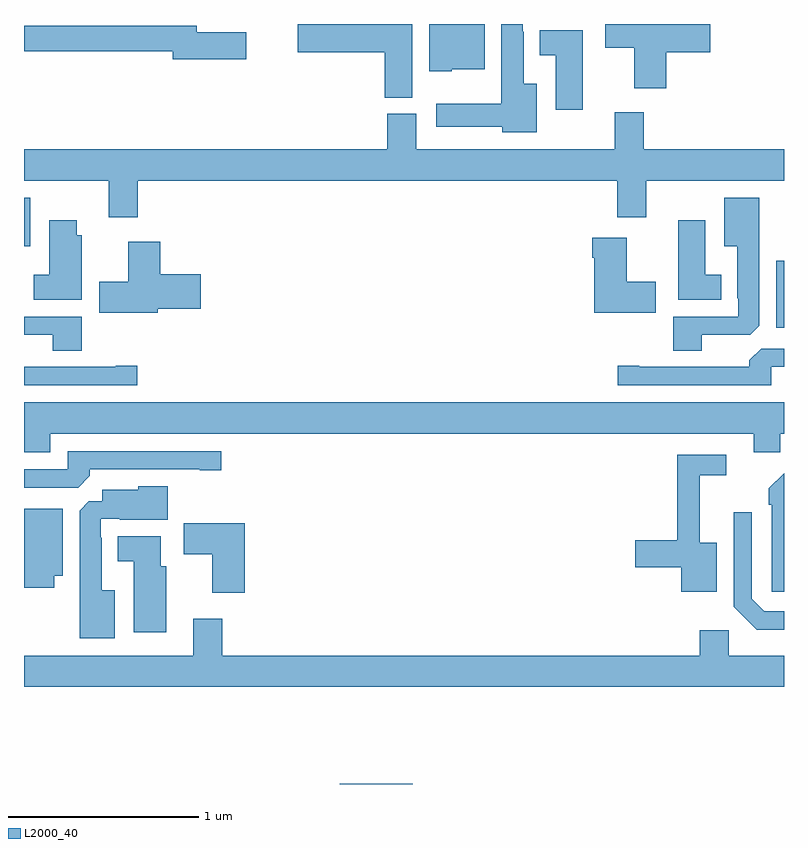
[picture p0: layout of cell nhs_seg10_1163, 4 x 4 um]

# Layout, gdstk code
import gdstk
lib = gdstk.Library(unit=1e-6, precision=1e-09)
def R(c, l, rs):  # rectangles x0, y0, x1, y1
    for r in rs: c.add(gdstk.rectangle(r[:2], r[2:], *l))
def P(c, l, *ps):  # polygons
    for p in ps: c.add(gdstk.Polygon(p, *l))
L2000_40 = (2000, 40)

nhs_seg10_1163 = lib.new_cell('nhs_seg10_1163')
R(nhs_seg10_1163, L2000_40, [(172.662,1270.5,173.046,1270.502), (174.959,1272.902,175,1273.255), (171,1273.331,171.034,1273.585)])
P(nhs_seg10_1163, L2000_40, [(173.698,1274.185),(173.629,1274.185),(173.629,1274.459),(173.625,1274.459),(173.625,1274.5),(173.513,1274.5),(173.513,1274.08),(173.169,1274.08),(173.169,1273.958),(173.517,1273.958),(173.517,1273.931),(173.698,1273.931)],
  [(173.25,1274.261),(173.425,1274.261),(173.425,1274.5),(173.132,1274.5),(173.132,1274.252),(173.25,1274.252)],
  [(174.38,1274.351),(174.613,1274.351),(174.613,1274.498),(174.367,1274.498),(174.367,1274.5),(174.06,1274.5),(174.06,1274.374),(174.212,1274.374),(174.212,1274.163),(174.38,1274.163)],
  [(173.044,1274.5),(172.898,1274.5),(172.898,1274.498),(172.44,1274.498),(172.44,1274.351),(172.898,1274.351),(172.898,1274.113),(173.044,1274.113)],
  [(172.171,1274.456),(171.91,1274.456),(171.91,1274.492),(171,1274.492),(171,1274.356),(171.782,1274.356),(171.782,1274.314),(172.171,1274.314)],
  [(173.941,1274.467),(173.714,1274.467),(173.714,1274.336),(173.798,1274.336),(173.798,1274.049),(173.941,1274.049)],
  [(171.599,1273.676),(174.122,1273.676),(174.122,1273.482),(174.274,1273.482),(174.274,1273.676),(175,1273.676),(175,1273.84),(174.263,1273.84),(174.263,1274.035),(174.11,1274.035),(174.11,1273.84),(173.065,1273.84),(173.065,1274.028),(172.913,1274.028),(172.913,1273.84),(171,1273.84),(171,1273.676),(171.446,1273.676),(171.446,1273.482),(171.599,1273.482)],
  [(174.568,1272.864),(174.822,1272.864),(174.871,1272.913),(174.871,1273.585),(174.686,1273.585),(174.686,1273.331),(174.755,1273.331),(174.755,1273.057),(174.759,1273.057),(174.759,1272.96),(174.416,1272.96),(174.416,1272.781),(174.568,1272.781)],
  [(171.304,1273.389),(171.277,1273.389),(171.277,1273.468),(171.134,1273.468),(171.134,1273.18),(171.05,1273.18),(171.05,1273.049),(171.304,1273.049)],
  [(174.67,1273.18),(174.586,1273.18),(174.586,1273.468),(174.443,1273.468),(174.443,1273.049),(174.67,1273.049)],
  [(174.325,1273.143),(174.172,1273.143),(174.172,1273.375),(173.99,1273.375),(173.99,1273.271),(174.002,1273.271),(174.002,1272.98),(174.325,1272.98)],
  [(171.703,1273.001),(171.931,1273.001),(171.931,1273.184),(171.716,1273.184),(171.716,1273.354),(171.548,1273.354),(171.548,1273.143),(171.396,1273.143),(171.396,1272.98),(171.703,1272.98)],
  [(171.305,1272.96),(171,1272.96),(171,1272.864),(171.152,1272.864),(171.152,1272.781),(171.305,1272.781)],
  [(174.933,1272.696),(175,1272.696),(175,1272.792),(174.879,1272.792),(174.818,1272.73),(174.818,1272.696),(174.238,1272.696),(174.238,1272.701),(174.126,1272.701),(174.126,1272.6),(174.933,1272.6)],
  [(171.595,1272.701),(171.482,1272.701),(171.482,1272.696),(171,1272.696),(171,1272.6),(171.595,1272.6)],
  [(171.139,1272.344),(174.842,1272.344),(174.842,1272.246),(174.981,1272.246),(174.981,1272.344),(175,1272.344),(175,1272.508),(171,1272.508),(171,1272.245),(171.139,1272.245)],
  [(171.347,1272.122),(171.347,1272.156),(171.926,1272.156),(171.926,1272.151),(172.039,1272.151),(172.039,1272.252),(171.231,1272.252),(171.231,1272.156),(171,1272.156),(171,1272.06),(171.285,1272.06)],
  [(174.646,1271.77),(174.557,1271.77),(174.557,1272.126),(174.697,1272.126),(174.697,1272.234),(174.439,1272.234),(174.439,1271.783),(174.216,1271.783),(174.216,1271.641),(174.458,1271.641),(174.458,1271.513),(174.646,1271.513)],
  [(175,1272.136),(174.921,1272.057),(174.921,1271.969),(174.936,1271.969),(174.936,1271.511),(175,1271.511)],
  [(171.478,1271.521),(171.409,1271.521),(171.409,1271.795),(171.405,1271.795),(171.405,1271.895),(171.505,1271.895),(171.505,1271.891),(171.757,1271.891),(171.757,1272.067),(171.6,1272.067),(171.6,1272.049),(171.413,1272.049),(171.413,1271.988),(171.342,1271.988),(171.293,1271.939),(171.293,1271.267),(171.478,1271.267)],
  [(171.16,1271.597),(171.205,1271.597),(171.205,1271.95),(171,1271.95),(171,1271.597),(171.002,1271.597),(171.002,1271.534),(171.16,1271.534)],
  [(175,1271.409),(174.897,1271.409),(174.831,1271.475),(174.831,1271.929),(174.735,1271.929),(174.735,1271.433),(174.856,1271.312),(175,1271.312)],
  [(172.162,1271.872),(171.84,1271.872),(171.84,1271.71),(171.992,1271.71),(171.992,1271.507),(172.162,1271.507)],
  [(171.748,1271.646),(171.721,1271.646),(171.721,1271.803),(171.494,1271.803),(171.494,1271.672),(171.578,1271.672),(171.578,1271.298),(171.748,1271.298)],
  [(175,1271.176),(174.708,1271.176),(174.708,1271.308),(174.557,1271.308),(174.557,1271.176),(172.043,1271.176),(172.043,1271.371),(171.89,1271.371),(171.89,1271.176),(171,1271.176),(171,1271.012),(175,1271.012)])

lib.write_gds('nhs_seg10_1163.gds')
